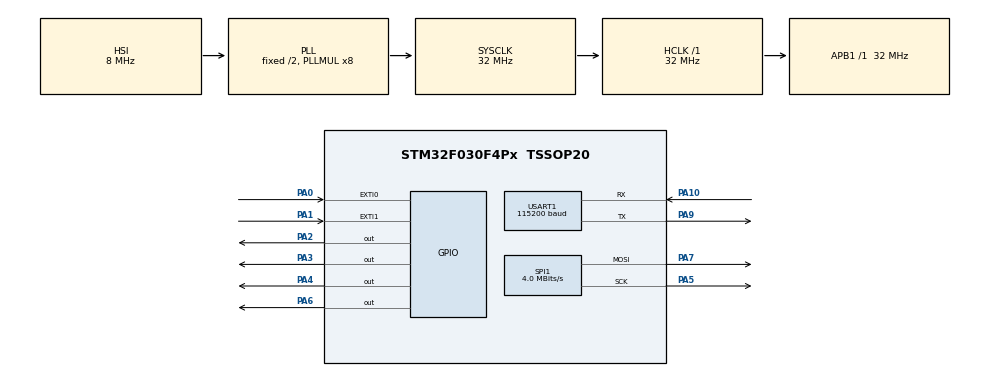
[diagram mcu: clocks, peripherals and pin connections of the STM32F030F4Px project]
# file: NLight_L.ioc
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Dma.Request0=SPI1_TX
Dma.SPI1_TX.0.Direction=DMA_MEMORY_TO_PERIPH
Dma.SPI1_TX.0.Instance=DMA1_Channel3
Dma.SPI1_TX.0.MemDataAlignment=DMA_MDATAALIGN_BYTE
Dma.SPI1_TX.0.MemInc=DMA_MINC_ENABLE
Dma.SPI1_TX.0.Mode=DMA_NORMAL
Dma.SPI1_TX.0.PeriphDataAlignment=DMA_PDATAALIGN_BYTE
Dma.SPI1_TX.0.PeriphInc=DMA_PINC_DISABLE
Dma.SPI1_TX.0.Priority=DMA_PRIORITY_LOW
Mcu.Family=STM32F0
Mcu.Name=STM32F030F4Px
Mcu.Package=TSSOP20
NVIC.DMA1_Channel2_3_IRQn=true\:0\:0\:false\:false\:true\:false
NVIC.EXTI0_1_IRQn=true\:0\:0\:false\:true\:true\:1\:true
NVIC.TIM16_IRQn=true\:0\:0\:false\:true\:true\:2\:true
NVIC.USART1_IRQn=true\:0\:0\:false\:false\:true\:true
PA0.GPIO_ModeDefaultEXTI=GPIO_MODE_IT_FALLING
PA0.GPIO_PuPd=GPIO_PULLUP
PA0.Signal=GPXTI0
PA1.GPIO_ModeDefaultEXTI=GPIO_MODE_IT_FALLING
PA1.GPIO_PuPd=GPIO_PULLUP
PA1.Signal=GPXTI1
PA10.Mode=Asynchronous
PA10.Signal=USART1_RX
PA13.Mode=Serial_Wire
PA13.Signal=SYS_SWDIO
PA14.Mode=Serial_Wire
PA14.Signal=SYS_SWCLK
PA2.Signal=GPIO_Output
PA3.Signal=GPIO_Output
PA4.Signal=GPIO_Output
PA5.Mode=TX_Only_Simplex_Unidirect_Master
PA5.Signal=SPI1_SCK
PA6.Signal=GPIO_Output
PA7.Mode=TX_Only_Simplex_Unidirect_Master
PA7.Signal=SPI1_MOSI
PA9.Mode=Asynchronous
PA9.Signal=USART1_TX
ProjectManager.HeapSize=0x200
ProjectManager.StackSize=0x400
ProjectManager.TargetToolchain=MDK-ARM V5
RCC.AHBFreq_Value=32000000
RCC.APB1Freq_Value=32000000
RCC.APB1TimFreq_Value=32000000
RCC.HCLKFreq_Value=32000000
RCC.PLLMUL=RCC_PLL_MUL8
RCC.SYSCLKFreq_VALUE=32000000
RCC.SYSCLKSource=RCC_SYSCLKSOURCE_PLLCLK
SPI1.BaudRatePrescaler=SPI_BAUDRATEPRESCALER_8
SPI1.CLKPhase=SPI_PHASE_2EDGE
SPI1.CLKPolarity=SPI_POLARITY_HIGH
SPI1.CalculateBaudRate=4.0 MBits/s
SPI1.DataSize=SPI_DATASIZE_8BIT
SPI1.Direction=SPI_DIRECTION_2LINES
SPI1.Mode=SPI_MODE_MASTER
SPI1.VirtualType=VM_MASTER
TIM16.Period=10000-1
TIM16.Prescaler=3200-1
USART1.BaudRate=115200
USART1.DMADisableonRxErrorParam=ADVFEATURE_DMA_DISABLEONRXERROR
USART1.VirtualMode-Asynchronous=VM_ASYNC
VP_TIM16_VS_ClockSourceINT.Mode=Enable_Timer
board=NLight_L

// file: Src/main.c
/**
  ******************************************************************************
  * @file           : main.c
  * @brief          : Main program body
  ******************************************************************************
  ** This notice applies to any and all portions of this file
  * that are not between comment pairs USER CODE BEGIN and
  * USER CODE END. Other portions of this file, whether
  * inserted by the user or by software development tools
  * are owned by their respective copyright owners.
  *
  * COPYRIGHT(c) 2019 STMicroelectronics
  *
  * Redistribution and use in source and binary forms, with or without modification,
  * are permitted provided that the following conditions are met:
  *   1. Redistributions of source code must retain the above copyright notice,
  *      this list of conditions and the following disclaimer.
  *   2. Redistributions in binary form must reproduce the above copyright notice,
  *      this list of conditions and the following disclaimer in the documentation
  *      and/or other materials provided with the distribution.
  *   3. Neither the name of STMicroelectronics nor the names of its contributors
  *      may be used to endorse or promote products derived from this software
  *      without specific prior written permission.
  *
  * THIS SOFTWARE IS PROVIDED BY THE COPYRIGHT HOLDERS AND CONTRIBUTORS "AS IS"
  * AND ANY EXPRESS OR IMPLIED WARRANTIES, INCLUDING, BUT NOT LIMITED TO, THE
  * IMPLIED WARRANTIES OF MERCHANTABILITY AND FITNESS FOR A PARTICULAR PURPOSE ARE
  * DISCLAIMED. IN NO EVENT SHALL THE COPYRIGHT HOLDER OR CONTRIBUTORS BE LIABLE
  * FOR ANY DIRECT, INDIRECT, INCIDENTAL, SPECIAL, EXEMPLARY, OR CONSEQUENTIAL
  * DAMAGES (INCLUDING, BUT NOT LIMITED TO, PROCUREMENT OF SUBSTITUTE GOODS OR
  * SERVICES; LOSS OF USE, DATA, OR PROFITS; OR BUSINESS INTERRUPTION) HOWEVER
  * CAUSED AND ON ANY THEORY OF LIABILITY, WHETHER IN CONTRACT, STRICT LIABILITY,
  * OR TORT (INCLUDING NEGLIGENCE OR OTHERWISE) ARISING IN ANY WAY OUT OF THE USE
  * OF THIS SOFTWARE, EVEN IF ADVISED OF THE POSSIBILITY OF SUCH DAMAGE.
  *
  ******************************************************************************
  */
#include "main.h"
#include "stm32f0xx_hal.h"
#include "dma.h"
#include "spi.h"
#include "tim.h"
#include "usart.h"
#include "gpio.h"

/* USER CODE BEGIN Includes */
#include "WS28.h"
#include "usercmd.h"
/* USER CODE END Includes */

/* USER CODE BEGIN PV */
/* Private variables ---------------------------------------------------------*/

uint8_t ReceiveBuff[BUFFERSIZE];		//接收缓冲区
uint8_t recv_end_flag = 0,Rx_len;		//接收完成中断，接收到字符长度
uint8_t User_Run_flag = 0;
/* USER CODE END PV */

void SystemClock_Config(void);
static void MX_NVIC_Init(void);

/* USER CODE BEGIN PFP */
/* Private function prototypes -----------------------------------------------*/
void WriteFlash(uint8_t addrnum,uint32_t data);
uint32_t ReadFlash(uint8_t addrnum);
void uartdamget(void);
/* USER CODE END PFP */

/* USER CODE BEGIN 0 */

uint32_t tim16,lasttim16;
uint8_t Color_Cnt;
uint8_t Work_Mode = Mode_Sleep;
uint8_t Sleep_State = Sleep_End;
uint32_t color_temp = 0;
uint32_t sys_color[3] = {RED,GREEN,BLUE};

//uint32_t WriteFlashData = 0x55555555;
//uint32_t ReadFlashData[4] ;
//uint32_t FlashAddr[3] = {0x08003400,0x08003800,0x08003C00};//0x08003000

#define FLASH_USER_START_PAGE 	 0x08003C00
#define FLASH_USER_SIZE					 5

#define Sleep_Min   						 10	//minutes
/* USER CODE END 0 */

int main(void)
{

	/* MCU Configuration----------------------------------------------------------*/

	/* Reset of all peripherals, Initializes the Flash interface and the Systick. */
	HAL_Init();

	/* Configure the system clock */
	SystemClock_Config();

	  /* Initialize all configured peripherals */
	MX_GPIO_Init();
	MX_DMA_Init();
	MX_SPI1_Init();
	Sw28_Init(&hsw28,PIXELS_LEN);
	MX_TIM16_Init();
	MX_USART1_UART_Init();

	//colorWipe(&hsw28,BLACK,10);
	/* Initialize interrupts */
	MX_NVIC_Init();
	/* USER CODE BEGIN 2 */
	//Sw28_Init(&hsw28,PIXELS_LEN);
	HAL_TIM_Base_Start_IT(&htim16);

	/*        使能串口1 IDLE中断        */
	__HAL_UART_ENABLE_IT(&huart1, UART_IT_IDLE);
	User_CMD_Init();
	uint8_t userdata_flag = 0;
	for(uint8_t i=0;i<3;i++)
	{
		sys_color[i] = ReadFlash(i);
		if(sys_color[i] == 0xFFFFFFFF)
		{
			sys_color[i] = RED;
			userdata_flag = 1;
		}
		else
		{
			userdata_flag = 0;
		}
	}
	if(userdata_flag == 1)
	{
		Show_Firstdown_inf();
	}

	/* USER CODE END 2 */

	/* Infinite loop */
	while (1)
	{
		uartdamget();
	/* USER CODE BEGIN 3 */
		if(Work_Mode == Mode_Bright)
		{
			colorWipe(&hsw28,sys_color[Color_Cnt-1],10);
		}
		else if(Work_Mode == Mode_Debug)
		{
			colorWipe(&hsw28,color_temp,10);
		}
		else if(Work_Mode == Mode_Breathe)
		{
			if(lasttim16 != tim16)
			{
				lasttim16 = tim16;
				Breathe_Show();
			}
		}
		else
		{
			colorWipe(&hsw28,BLACK,10);
		}
//		if(Sleep_State==Sleep_Begin)
//		{
//			HAL_GPIO_WritePin(GPIOA, GPIO_PIN_4|GPIO_PIN_6|GPIO_PIN_9|GPIO_PIN_10, GPIO_PIN_SET);
//		}
//		else
//		{
//			HAL_GPIO_WritePin(GPIOA, GPIO_PIN_4|GPIO_PIN_6|GPIO_PIN_9|GPIO_PIN_10, GPIO_PIN_RESET);
//		}
	}
	/* USER CODE END 3 */

}

void SystemClock_Config(void)
{

  RCC_OscInitTypeDef RCC_OscInitStruct;
  RCC_ClkInitTypeDef RCC_ClkInitStruct;
  RCC_PeriphCLKInitTypeDef PeriphClkInit;

    /**Initializes the CPU, AHB and APB busses clocks
    */
  RCC_OscInitStruct.OscillatorType = RCC_OSCILLATORTYPE_HSI;
  RCC_OscInitStruct.HSIState = RCC_HSI_ON;
  RCC_OscInitStruct.HSICalibrationValue = 16;
  RCC_OscInitStruct.PLL.PLLState = RCC_PLL_ON;
  RCC_OscInitStruct.PLL.PLLSource = RCC_PLLSOURCE_HSI;
  RCC_OscInitStruct.PLL.PLLMUL = RCC_PLL_MUL8;
  RCC_OscInitStruct.PLL.PREDIV = RCC_PREDIV_DIV1;
  if (HAL_RCC_OscConfig(&RCC_OscInitStruct) != HAL_OK)
  {
    _Error_Handler(__FILE__, __LINE__);
  }

    /**Initializes the CPU, AHB and APB busses clocks
    */
  RCC_ClkInitStruct.ClockType = RCC_CLOCKTYPE_HCLK|RCC_CLOCKTYPE_SYSCLK
                              |RCC_CLOCKTYPE_PCLK1;
  RCC_ClkInitStruct.SYSCLKSource = RCC_SYSCLKSOURCE_PLLCLK;
  RCC_ClkInitStruct.AHBCLKDivider = RCC_SYSCLK_DIV1;
  RCC_ClkInitStruct.APB1CLKDivider = RCC_HCLK_DIV1;

  if (HAL_RCC_ClockConfig(&RCC_ClkInitStruct, FLASH_LATENCY_1) != HAL_OK)
  {
    _Error_Handler(__FILE__, __LINE__);
  }

  PeriphClkInit.PeriphClockSelection = RCC_PERIPHCLK_USART1;
  PeriphClkInit.Usart1ClockSelection = RCC_USART1CLKSOURCE_PCLK1;
  if (HAL_RCCEx_PeriphCLKConfig(&PeriphClkInit) != HAL_OK)
  {
    _Error_Handler(__FILE__, __LINE__);
  }

    /**Configure the Systick interrupt time
    */
  HAL_SYSTICK_Config(HAL_RCC_GetHCLKFreq()/1000);

    /**Configure the Systick
    */
  HAL_SYSTICK_CLKSourceConfig(SYSTICK_CLKSOURCE_HCLK);

  /* SysTick_IRQn interrupt configuration */
  HAL_NVIC_SetPriority(SysTick_IRQn, 0, 0);
}

/**
  * @brief NVIC Configuration.
  * @retval None
  */
static void MX_NVIC_Init(void)
{
  /* EXTI0_1_IRQn interrupt configuration */
  HAL_NVIC_SetPriority(EXTI0_1_IRQn, 0, 0);
  HAL_NVIC_EnableIRQ(EXTI0_1_IRQn);
  /* TIM16_IRQn interrupt configuration */
  HAL_NVIC_SetPriority(TIM16_IRQn, 0, 0);
  HAL_NVIC_EnableIRQ(TIM16_IRQn);
}

/* USER CODE BEGIN 4 */
void WriteFlash(uint8_t addrnum,uint32_t data)
{
	uint8_t i;
  uint32_t FlashDataTemp[FLASH_USER_SIZE]={0x00000000};
	for(i=0;i<FLASH_USER_SIZE;i++)
		FlashDataTemp[i] = ReadFlash(i);
	FlashDataTemp[addrnum] = data;

	HAL_FLASH_Unlock();

	FLASH_EraseInitTypeDef f;
	f.TypeErase = FLASH_TYPEERASE_PAGES;
	f.PageAddress = FLASH_USER_START_PAGE;
	f.NbPages = 1;

	uint32_t PageError = 0;

	HAL_FLASHEx_Erase(&f, &PageError);

	for(i=0;i<FLASH_USER_SIZE;i++)
		HAL_FLASH_Program(FLASH_TYPEPROGRAM_WORD, FLASH_USER_START_PAGE+4*i, FlashDataTemp[i]);

	HAL_FLASH_Lock();
}

uint32_t ReadFlash(uint8_t addrnum)
{
	uint32_t temp = *(__IO uint32_t*)(FLASH_USER_START_PAGE+4*addrnum);
	return temp;
}

void HAL_GPIO_EXTI_Callback(uint16_t GPIO_Pin)
{
  if(GPIO_Pin == GPIO_PIN_0)
  {
		while(HAL_GPIO_ReadPin(GPIOA,GPIO_PIN_0));
		if(Work_Mode==Mode_Bright)
		{
			Sleep_State=Sleep_Begin;
			Work_Mode = Mode_Breathe;
			Beathe_Init(&bre28,sys_color[Color_Cnt-1]);
			tim16 = 0;
		}
		else if(Work_Mode == Mode_Breathe)
		{
			Sleep_State=Sleep_End;
			Work_Mode = Mode_Bright;
		}
  }
	if(GPIO_Pin == GPIO_PIN_1)
  {
		if(Work_Mode != Mode_Breathe)
		{
			while(HAL_GPIO_ReadPin(GPIOA,GPIO_PIN_1));
			if(Color_Cnt<3)
			{
				Work_Mode = Mode_Bright;
				Color_Cnt++;
			}
			else
			{
				Work_Mode = Mode_Sleep;
				Color_Cnt = 0;
				tim16 = 0;
				Sleep_State=Sleep_End;
			}
		}
  }
}

void HAL_TIM_PeriodElapsedCallback(TIM_HandleTypeDef *htim)
{
	//10ms
	if(htim == &htim16)
	{
		if(Sleep_State==Sleep_Begin)
		{
			if(tim16<Sleep_Min*100*60)
			{
				tim16++;
			}
			else
			{
				if(bre28.Status!=WAIT)
					tim16++;
				else
				{
					tim16=0;
					Sleep_State=Sleep_End;
					Work_Mode = Mode_Sleep;
				}
			}
		}

	}
}

void uartdamget(void)
{
	if(recv_end_flag ==1)
	{
		if(User_Run_flag == 0)
		{
			User_Run_flag =1;
		}
		else
		{
			CMD_String_deal(ReceiveBuff);
		}
		/*        打印接收到的数据长度 */
		//printf("\nrx_len=%d\r\n",Rx_len);

		//Sw_Light_Color(color_temp);
//		for(int i=0;i<Rx_len;i++)
//		{
//		/*        打印接收到的数据 */
//			printf("%c",ReceiveBuff[i]);
//		}
//		printf("\r\n");
//		printf("%#x\r\n",color_temp);

		/*        清空接收缓存区        */
		for(int i = 0; i < Rx_len ; i++)
				ReceiveBuff[i]=0;
		/*        接收数据长度清零        */
		Rx_len=0;
		recv_end_flag=0;
	}
	/*        开启下一次接收        */
	HAL_UART_Receive_DMA(&huart1,(uint8_t*)ReceiveBuff,BUFFERSIZE);
}
/* USER CODE END 4 */

void _Error_Handler(char *file, int line)
{
  while(1)
  {
  }
}

/************************ (C) COPYRIGHT STMicroelectronics *****END OF FILE****/
